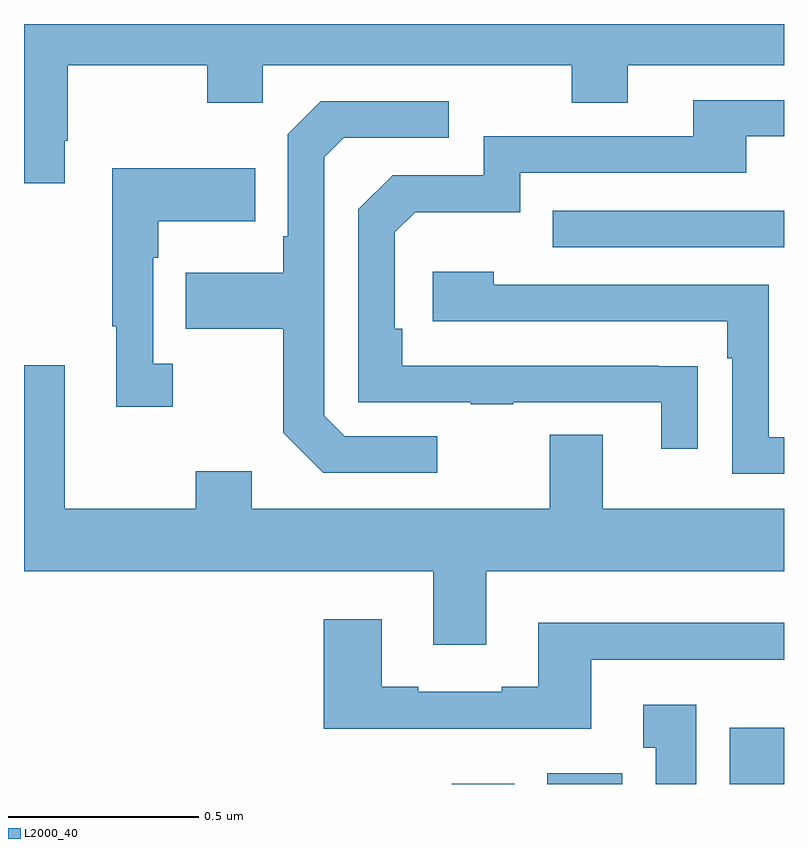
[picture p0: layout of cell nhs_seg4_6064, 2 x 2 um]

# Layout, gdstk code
import gdstk
lib = gdstk.Library(unit=1e-6, precision=1e-09)
def R(c, l, rs):  # rectangles x0, y0, x1, y1
    for r in rs: c.add(gdstk.rectangle(r[:2], r[2:], *l))
def P(c, l, *ps):  # polygons
    for p in ps: c.add(gdstk.Polygon(p, *l))
L2000_40 = (2000, 40)

nhs_seg4_6064 = lib.new_cell('nhs_seg4_6064')
R(nhs_seg4_6064, L2000_40, [(186.125,822.9,186.292,822.901), (186.377,822.9,186.574,822.928), (186.857,822.9,187,823.048), (186.391,824.313,187,824.409)])
P(nhs_seg4_6064, L2000_40, [(185.107,824.593),(185.115,824.593),(185.115,824.792),(185.482,824.792),(185.482,824.693),(185.628,824.693),(185.628,824.792),(186.442,824.792),(186.442,824.693),(186.589,824.693),(186.589,824.792),(187,824.792),(187,824.9),(185,824.9),(185,824.481),(185.107,824.481)],
  [(186.773,824),(186.671,824),(186.671,824.001),(185.996,824.001),(185.996,824.098),(185.976,824.098),(185.976,824.352),(186.029,824.405),(186.306,824.405),(186.306,824.508),(186.901,824.508),(186.901,824.604),(187,824.604),(187,824.7),(186.761,824.7),(186.761,824.604),(186.21,824.604),(186.21,824.502),(185.97,824.502),(185.88,824.412),(185.88,823.905),(186.175,823.905),(186.175,823.9),(186.287,823.9),(186.287,823.905),(186.677,823.905),(186.677,823.782),(186.773,823.782)],
  [(186.088,823.815),(185.844,823.815),(185.79,823.869),(185.79,824.55),(185.841,824.601),(186.118,824.601),(186.118,824.697),(185.781,824.697),(185.694,824.61),(185.694,824.341),(185.682,824.341),(185.682,824.245),(185.425,824.245),(185.425,824.098),(185.682,824.098),(185.682,823.825),(185.787,823.719),(186.088,823.719)],
  [(185.392,824.006),(185.34,824.006),(185.34,824.285),(185.353,824.285),(185.353,824.381),(185.609,824.381),(185.609,824.521),(185.232,824.521),(185.232,824.105),(185.243,824.105),(185.243,823.893),(185.392,823.893)],
  [(187,823.812),(186.96,823.812),(186.96,824.214),(186.236,824.214),(186.236,824.248),(186.075,824.248),(186.075,824.118),(186.851,824.118),(186.851,824.021),(186.864,824.021),(186.864,823.716),(187,823.716)],
  [(186.217,823.46),(187,823.46),(187,823.624),(186.523,823.624),(186.523,823.819),(186.383,823.819),(186.383,823.624),(185.599,823.624),(185.599,823.723),(185.452,823.723),(185.452,823.624),(185.107,823.624),(185.107,824.002),(185,824.002),(185,823.46),(186.077,823.46),(186.077,823.266),(186.217,823.266)],
  [(186.493,823.227),(187,823.227),(187,823.324),(186.353,823.324),(186.353,823.156),(186.257,823.156),(186.257,823.143),(186.037,823.143),(186.037,823.156),(185.941,823.156),(185.941,823.333),(185.789,823.333),(185.789,823.046),(186.493,823.046)],
  [(186.769,823.108),(186.629,823.108),(186.629,822.995),(186.662,822.995),(186.662,822.9),(186.769,822.9)])

lib.write_gds('nhs_seg4_6064.gds')
